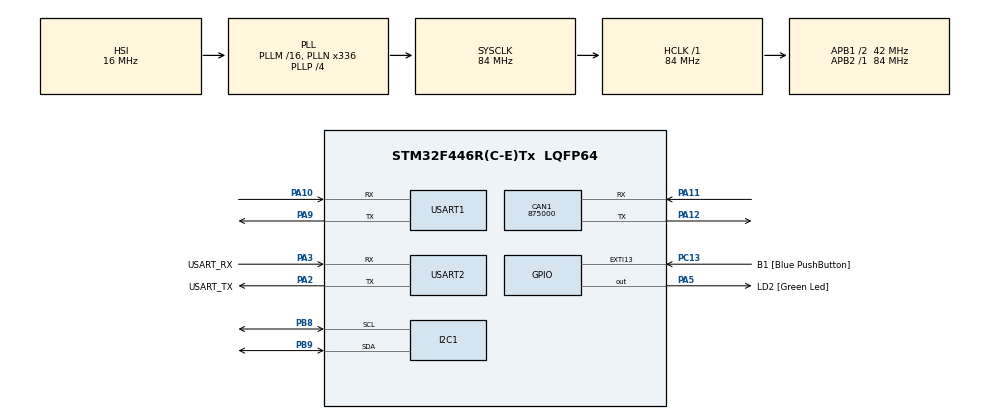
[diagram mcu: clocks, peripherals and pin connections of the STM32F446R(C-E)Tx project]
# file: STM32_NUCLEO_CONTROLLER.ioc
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CAN1.CalculateBaudRate=875000
CAN1.CalculateTimeBit=1142
CAN1.CalculateTimeQuantum=380.95238095238096
Mcu.Family=STM32F4
Mcu.Name=STM32F446R(C-E)Tx
Mcu.Package=LQFP64
NVIC.PriorityGroup=NVIC_PRIORITYGROUP_0
PA10.Mode=Asynchronous
PA10.Signal=USART1_RX
PA11.Mode=CAN_Activate
PA11.Signal=CAN1_RX
PA12.Mode=CAN_Activate
PA12.Signal=CAN1_TX
PA13.GPIO_Label=TMS
PA13.Mode=Serial_Wire
PA13.Signal=SYS_JTMS-SWDIO
PA14.GPIO_Label=TCK
PA14.Mode=Serial_Wire
PA14.Signal=SYS_JTCK-SWCLK
PA2.GPIO_Label=USART_TX
PA2.Mode=Asynchronous
PA2.Signal=USART2_TX
PA3.GPIO_Label=USART_RX
PA3.Mode=Asynchronous
PA3.Signal=USART2_RX
PA5.GPIO_Label=LD2 [Green Led]
PA5.Signal=GPIO_Output
PA9.Mode=Asynchronous
PA9.Signal=USART1_TX
PB3.GPIO_Label=SWO
PB3.Signal=SYS_JTDO-SWO
PB8.Mode=I2C
PB8.Signal=I2C1_SCL
PB9.Mode=I2C
PB9.Signal=I2C1_SDA
PC13.GPIO_Label=B1 [Blue PushButton]
PC13.GPIO_ModeDefaultEXTI=GPIO_MODE_IT_FALLING
PC13.Signal=GPXTI13
PC14-OSC32_IN.Mode=LSE-External-Oscillator
PC14-OSC32_IN.Signal=RCC_OSC32_IN
PC15-OSC32_OUT.Mode=LSE-External-Oscillator
PC15-OSC32_OUT.Signal=RCC_OSC32_OUT
PH0-OSC_IN.Mode=HSE-External-Oscillator
PH0-OSC_IN.Signal=RCC_OSC_IN
PH1-OSC_OUT.Mode=HSE-External-Oscillator
PH1-OSC_OUT.Signal=RCC_OSC_OUT
ProjectManager.HeapSize=0x200
ProjectManager.StackSize=0x400
ProjectManager.TargetToolchain=STM32CubeIDE
RCC.48MHZClocksFreq_Value=84000000
RCC.AHBFreq_Value=84000000
RCC.APB1CLKDivider=RCC_HCLK_DIV2
RCC.APB1Freq_Value=42000000
RCC.APB1TimFreq_Value=84000000
RCC.APB2Freq_Value=84000000
RCC.APB2TimFreq_Value=84000000
RCC.CortexFreq_Value=84000000
RCC.FLatency-AdvancedSettings=FLASH_LATENCY_2
RCC.HCLKFreq_Value=84000000
RCC.HSE_VALUE=8000000
RCC.HSI_VALUE=16000000
RCC.PLLN=336
RCC.PLLP=RCC_PLLP_DIV4
RCC.SYSCLKFreq_VALUE=84000000
RCC.SYSCLKSource=RCC_SYSCLKSOURCE_PLLCLK
RCC.USBFreq_Value=168000000
RCC.VCOOutputFreq_Value=336000000
USART1.VirtualMode=VM_ASYNC
USART2.VirtualMode=VM_ASYNC
board=NUCLEO-F446RE

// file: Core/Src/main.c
/* USER CODE BEGIN Header */
/**
 ******************************************************************************
 * @file           : main.c
 * @brief          : Main program body
 ******************************************************************************
 * @attention
 *
 * Copyright (c) 2025 STMicroelectronics.
 * All rights reserved.
 *
 * This software is licensed under terms that can be found in the LICENSE file
 * in the root directory of this software component.
 * If no LICENSE file comes with this software, it is provided AS-IS.
 *
 ******************************************************************************
 */
/* USER CODE END Header */
#include "main.h"

/* USER CODE BEGIN Includes */
#include "bmp280.h"
#include "mpu9250.h"
#include <stdio.h>
#include <stdint.h>
#include <string.h>
#include <stdlib.h>
/* USER CODE END Includes */

CAN_HandleTypeDef hcan1;

I2C_HandleTypeDef hi2c1;

UART_HandleTypeDef huart1;
UART_HandleTypeDef huart2;

/* USER CODE BEGIN PV */
BMP280_HandleTypedef bmp;
mpu9250_raw_data_t   imu;

/* Buffer de recepção UART1 (pour les commandes venant du RPi) */
#define CMD_BUF_LEN   32

static char    g_cmd_buf[CMD_BUF_LEN];

/* índice e flag acessados por interrupção + main */
static volatile uint8_t g_cmd_idx   = 0;
static volatile uint8_t g_cmd_ready = 0;

/* buffers de recepção para interrupção (1 byte por vez) */
static uint8_t uart1_rx_byte = 0;
static uint8_t uart2_rx_byte = 0;

/* USER CODE END PV */

void SystemClock_Config(void);
static void MX_GPIO_Init(void);
static void MX_USART2_UART_Init(void);
static void MX_CAN1_Init(void);
static void MX_I2C1_Init(void);
static void MX_USART1_UART_Init(void);

/* USER CODE BEGIN 0 */
/* Valeurs globales compensées / calculées */
static volatile int32_t  g_temp_centi  = 0;   // T en 0.01°C
static volatile uint32_t g_press_pa    = 0;   // P en Pa
static volatile int32_t  g_angle_milli = 0;   // angle en 0.001 deg (placeholder)

/* Coefficient K stocké en 1/100 (SET_K=1234 -> K = 12.34) */
static volatile int32_t  g_K_centi     = 100; // valeur par défaut : 1.00

/* Buffer de réception UART1 (pour les commandes venant du RPi) */
#define CMD_BUF_LEN   32
static char    g_cmd_buf[CMD_BUF_LEN];

static void Sensors_Update(void)
{
	uint32_t raw_temp, raw_press;
	BMP280_S32_t T;
	BMP280_U32_t P;

	if (BMP280_ReadRaw(&bmp, &raw_temp, &raw_press) == HAL_OK)
	{
		T = BMP280_Compensate_T_int32(&bmp, (BMP280_S32_t)raw_temp);
		P = BMP280_Compensate_P_int32(&bmp, (BMP280_S32_t)raw_press);

		g_temp_centi = (int32_t)T;
		g_press_pa   = (uint32_t)P;
	}

	/* Lecture du MPU9250 (optionnel pour l'angle) */
	if (mpu9250_read_raw(&imu) == HAL_OK)
	{
		/* TODO: calcul de l’angle à partir de l’accéléro/gyro.
		 * Pour l'instant, on met un placeholder à 0.000 deg.
		 */
		g_angle_milli = 0;
	}
}
static void Protocol_SendString(const char *s)
{
	/* Envoi uniquement sur UART1 vers Raspberry (printf já manda nos dois) */
	HAL_UART_Transmit(&huart1, (uint8_t *)s, strlen(s), HAL_MAX_DELAY);
}

/**
 * @brief  Traite une commande complète reçue sur UART1 (sans \r\n).
 *
 * @param  cmd  Chaîne C terminée par '\0', par exemple "GET_T".
 */
static void Protocol_HandleCommand(const char *cmd)
{
	char tx[32];

	/* Commande GET_T : T=+12.50_C  (format lisible) */
	if (strncmp(cmd, "GET_T", 5) == 0)
	{
		int32_t t = g_temp_centi;
		char sign = '+';
		if (t < 0)
		{
			sign = '-';
			t = -t;
		}
		int32_t t_int  = t / 100;
		int32_t t_frac = t % 100;

		/* Exemple de format : T=+12.34_C */
		snprintf(tx, sizeof(tx), "T=%c%02ld.%02ld_C\r\n",
				sign, (long)t_int, (long)t_frac);
		Protocol_SendString(tx);
	}
	/* Commande GET_P : P=102300Pa */
	else if (strncmp(cmd, "GET_P", 5) == 0)
	{
		uint32_t p = g_press_pa;
		snprintf(tx, sizeof(tx), "P=%luPa\r\n", (unsigned long)p);
		Protocol_SendString(tx);
	}
	/* Commande SET_K=1234 */
	else if (strncmp(cmd, "SET_K=", 6) == 0)
	{
		const char *value_str = cmd + 6;
		int32_t k = (int32_t)atoi(value_str);  // en 1/100

		g_K_centi = k;

		snprintf(tx, sizeof(tx), "SET_K=OK\r\n");
		Protocol_SendString(tx);
	}
	/* Commande GET_K : K=12.34000  (K en 1/100, mais affiché avec 5 décimales) */
	else if (strncmp(cmd, "GET_K", 5) == 0)
	{
		int32_t k = g_K_centi; // ex : 1234 -> 12.34
		int32_t k_int  = k / 100;
		int32_t k_frac = k % 100;
		if (k_frac < 0) k_frac = -k_frac;

		/* Format demandé : K=12.34000 (2 décimales réelles + 3 zéros) */
		snprintf(tx, sizeof(tx), "K=%ld.%02ld000\r\n",
				(long)k_int, (long)k_frac);
		Protocol_SendString(tx);
	}
	/* Commande GET_A : A=125.7000 (angle sur 10 caractères)
	 * Pour le moment, angle stocké en 0.001 deg (milli-deg)
	 */
	else if (strncmp(cmd, "GET_A", 5) == 0)
	{
		int32_t a = g_angle_milli;  // ex: 125700 -> 125.700 deg
		int32_t a_int  = a / 1000;
		int32_t a_frac = a % 1000;
		if (a_frac < 0) a_frac = -a_frac;

		/* Format : A=xxx.yyyy  -> ici : 3 décimales, on complète avec un zéro */
		/* Exemple : 125.7000 */
		snprintf(tx, sizeof(tx), "A=%ld.%03ld0\r\n",
				(long)a_int, (long)a_frac);
		Protocol_SendString(tx);
	}
	/* Commande inconnue */
	else
	{
		snprintf(tx, sizeof(tx), "ERR=CMD\r\n");
		Protocol_SendString(tx);
	}
}

/* USER CODE END 0 */

int main(void)
{

  /* MCU Configuration--------------------------------------------------------*/

  /* Reset of all peripherals, Initializes the Flash interface and the Systick. */
  HAL_Init();

  /* Configure the system clock */
  SystemClock_Config();

  /* Initialize all configured peripherals */
  MX_GPIO_Init();
  MX_USART2_UART_Init();
  MX_CAN1_Init();
  MX_I2C1_Init();
  MX_USART1_UART_Init();
  /* USER CODE BEGIN 2 */
	/* USER CODE BEGIN 2 */
	printf("\r\n=== Init capteurs ===\r\n");

	if (BMP280_Init(&bmp, &hi2c1, BMP280_I2C_ADDR_DEFAULT) != HAL_OK)
	{
		printf("Erreur init BMP280\r\n");
	}

	if (mpu9250_init() != HAL_OK)
	{
		printf("Erreur init MPU9250\r\n");
	}

	/* Iniciar recepção por interrupção em UART1 (Raspberry) e UART2 (terminal) */
	HAL_UART_Receive_IT(&huart1, &uart1_rx_byte, 1);
	HAL_UART_Receive_IT(&huart2, &uart2_rx_byte, 1);

	printf("=== Protocole UART1 pret (Raspberry Pi) ===\r\n");

  /* USER CODE END 2 */

  /* Infinite loop */
  /* USER CODE BEGIN WHILE */
	while (1)
	{
		/* Mise à jour périodique des capteurs */
		Sensors_Update();

		/* Se alguma linha de comando foi completada na UART1 (via interrupção) */
		if (g_cmd_ready)
		{
			/* Limpa flag antes de tratar, pra evitar race condition simples */
			g_cmd_ready = 0;

			/* Aqui é seguro chamar printf, HAL_UART_Transmit, etc. */
			Protocol_HandleCommand(g_cmd_buf);
		}

		HAL_Delay(50);  // ~20 Hz
    /* USER CODE END WHILE */

	}
}

void SystemClock_Config(void)
{
  RCC_OscInitTypeDef RCC_OscInitStruct = {0};
  RCC_ClkInitTypeDef RCC_ClkInitStruct = {0};

  /** Configure the main internal regulator output voltage
  */
  __HAL_RCC_PWR_CLK_ENABLE();
  __HAL_PWR_VOLTAGESCALING_CONFIG(PWR_REGULATOR_VOLTAGE_SCALE3);

  /** Initializes the RCC Oscillators according to the specified parameters
  * in the RCC_OscInitTypeDef structure.
  */
  RCC_OscInitStruct.OscillatorType = RCC_OSCILLATORTYPE_HSI;
  RCC_OscInitStruct.HSIState = RCC_HSI_ON;
  RCC_OscInitStruct.HSICalibrationValue = RCC_HSICALIBRATION_DEFAULT;
  RCC_OscInitStruct.PLL.PLLState = RCC_PLL_ON;
  RCC_OscInitStruct.PLL.PLLSource = RCC_PLLSOURCE_HSI;
  RCC_OscInitStruct.PLL.PLLM = 16;
  RCC_OscInitStruct.PLL.PLLN = 336;
  RCC_OscInitStruct.PLL.PLLP = RCC_PLLP_DIV4;
  RCC_OscInitStruct.PLL.PLLQ = 2;
  RCC_OscInitStruct.PLL.PLLR = 2;
  if (HAL_RCC_OscConfig(&RCC_OscInitStruct) != HAL_OK)
  {
    Error_Handler();
  }

  /** Initializes the CPU, AHB and APB buses clocks
  */
  RCC_ClkInitStruct.ClockType = RCC_CLOCKTYPE_HCLK|RCC_CLOCKTYPE_SYSCLK
                              |RCC_CLOCKTYPE_PCLK1|RCC_CLOCKTYPE_PCLK2;
  RCC_ClkInitStruct.SYSCLKSource = RCC_SYSCLKSOURCE_PLLCLK;
  RCC_ClkInitStruct.AHBCLKDivider = RCC_SYSCLK_DIV1;
  RCC_ClkInitStruct.APB1CLKDivider = RCC_HCLK_DIV2;
  RCC_ClkInitStruct.APB2CLKDivider = RCC_HCLK_DIV1;

  if (HAL_RCC_ClockConfig(&RCC_ClkInitStruct, FLASH_LATENCY_2) != HAL_OK)
  {
    Error_Handler();
  }
}

static void MX_CAN1_Init(void)
{

  hcan1.Instance = CAN1;
  hcan1.Init.Prescaler = 16;
  hcan1.Init.Mode = CAN_MODE_NORMAL;
  hcan1.Init.SyncJumpWidth = CAN_SJW_1TQ;
  hcan1.Init.TimeSeg1 = CAN_BS1_1TQ;
  hcan1.Init.TimeSeg2 = CAN_BS2_1TQ;
  hcan1.Init.TimeTriggeredMode = DISABLE;
  hcan1.Init.AutoBusOff = DISABLE;
  hcan1.Init.AutoWakeUp = DISABLE;
  hcan1.Init.AutoRetransmission = DISABLE;
  hcan1.Init.ReceiveFifoLocked = DISABLE;
  hcan1.Init.TransmitFifoPriority = DISABLE;
  if (HAL_CAN_Init(&hcan1) != HAL_OK)
  {
    Error_Handler();
  }

}

static void MX_I2C1_Init(void)
{

  hi2c1.Instance = I2C1;
  hi2c1.Init.ClockSpeed = 100000;
  hi2c1.Init.DutyCycle = I2C_DUTYCYCLE_2;
  hi2c1.Init.OwnAddress1 = 0;
  hi2c1.Init.AddressingMode = I2C_ADDRESSINGMODE_7BIT;
  hi2c1.Init.DualAddressMode = I2C_DUALADDRESS_DISABLE;
  hi2c1.Init.OwnAddress2 = 0;
  hi2c1.Init.GeneralCallMode = I2C_GENERALCALL_DISABLE;
  hi2c1.Init.NoStretchMode = I2C_NOSTRETCH_DISABLE;
  if (HAL_I2C_Init(&hi2c1) != HAL_OK)
  {
    Error_Handler();
  }

}

static void MX_USART1_UART_Init(void)
{

  huart1.Instance = USART1;
  huart1.Init.BaudRate = 115200;
  huart1.Init.WordLength = UART_WORDLENGTH_8B;
  huart1.Init.StopBits = UART_STOPBITS_1;
  huart1.Init.Parity = UART_PARITY_NONE;
  huart1.Init.Mode = UART_MODE_TX_RX;
  huart1.Init.HwFlowCtl = UART_HWCONTROL_NONE;
  huart1.Init.OverSampling = UART_OVERSAMPLING_16;
  if (HAL_UART_Init(&huart1) != HAL_OK)
  {
    Error_Handler();
  }

}

static void MX_USART2_UART_Init(void)
{

  huart2.Instance = USART2;
  huart2.Init.BaudRate = 115200;
  huart2.Init.WordLength = UART_WORDLENGTH_8B;
  huart2.Init.StopBits = UART_STOPBITS_1;
  huart2.Init.Parity = UART_PARITY_NONE;
  huart2.Init.Mode = UART_MODE_TX_RX;
  huart2.Init.HwFlowCtl = UART_HWCONTROL_NONE;
  huart2.Init.OverSampling = UART_OVERSAMPLING_16;
  if (HAL_UART_Init(&huart2) != HAL_OK)
  {
    Error_Handler();
  }

}

static void MX_GPIO_Init(void)
{
  GPIO_InitTypeDef GPIO_InitStruct = {0};

  /* GPIO Ports Clock Enable */
  __HAL_RCC_GPIOC_CLK_ENABLE();
  __HAL_RCC_GPIOH_CLK_ENABLE();
  __HAL_RCC_GPIOA_CLK_ENABLE();
  __HAL_RCC_GPIOB_CLK_ENABLE();

  /*Configure GPIO pin Output Level */
  HAL_GPIO_WritePin(LD2_GPIO_Port, LD2_Pin, GPIO_PIN_RESET);

  /*Configure GPIO pin : B1_Pin */
  GPIO_InitStruct.Pin = B1_Pin;
  GPIO_InitStruct.Mode = GPIO_MODE_IT_FALLING;
  GPIO_InitStruct.Pull = GPIO_NOPULL;
  HAL_GPIO_Init(B1_GPIO_Port, &GPIO_InitStruct);

  /*Configure GPIO pin : LD2_Pin */
  GPIO_InitStruct.Pin = LD2_Pin;
  GPIO_InitStruct.Mode = GPIO_MODE_OUTPUT_PP;
  GPIO_InitStruct.Pull = GPIO_NOPULL;
  GPIO_InitStruct.Speed = GPIO_SPEED_FREQ_LOW;
  HAL_GPIO_Init(LD2_GPIO_Port, &GPIO_InitStruct);

}

/* USER CODE BEGIN 4 */
void HAL_UART_RxCpltCallback(UART_HandleTypeDef *huart)
{
	/* Recepção vinda do Raspberry Pi (UART1) */
	if (huart->Instance == USART1)
	{
		uint8_t ch = uart1_rx_byte;

		if (ch == '\r' || ch == '\n')
		{
			/* Fim de comando */
			if (g_cmd_idx > 0)
			{
				/* Garante terminação em '\0' */
				if (g_cmd_idx < CMD_BUF_LEN)
				{
					g_cmd_buf[g_cmd_idx] = '\0';
				}
				else
				{
					g_cmd_buf[CMD_BUF_LEN - 1] = '\0';
				}

				/* Indica que há comando pronto para ser tratado no main() */
				g_cmd_ready = 1;
				g_cmd_idx   = 0;
			}
		}
		else
		{
			/* Acumula caracteres no buffer até o tamanho máximo */
			if (g_cmd_idx < (CMD_BUF_LEN - 1))
			{
				g_cmd_buf[g_cmd_idx++] = (char)ch;
			}
			else
			{
				/* Overflow: zera o índice (descarta comando atual) */
				g_cmd_idx = 0;
			}
		}

		/* Rearma a recepção do próximo byte em interrupção */
		HAL_UART_Receive_IT(&huart1, &uart1_rx_byte, 1);
	}
	/* Recepção vinda do terminal (UART2) */
	else if (huart->Instance == USART2)
	{
		/* Exemplo simples: ecoar o que chega de volta no terminal */
		HAL_UART_Transmit(&huart2, &uart2_rx_byte, 1, HAL_MAX_DELAY);

		/* Rearma a recepção do próximo byte em interrupção */
		HAL_UART_Receive_IT(&huart2, &uart2_rx_byte, 1);
	}
}

/* USER CODE END 4 */

void Error_Handler(void)
{
	__disable_irq();
	while (1)
	{
	}
}
